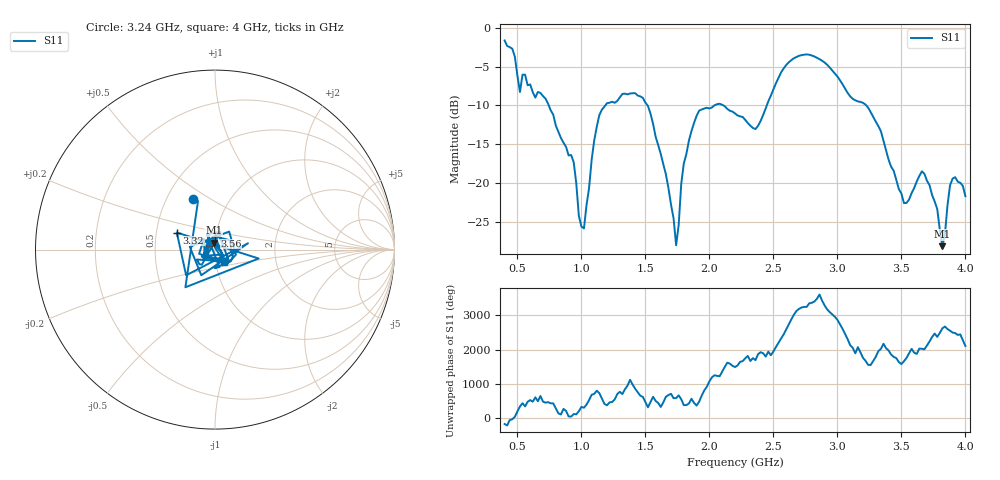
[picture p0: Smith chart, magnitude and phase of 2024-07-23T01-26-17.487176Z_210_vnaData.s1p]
!Created with skrf (http://scikit-rf.org).
# Hz S RI R 50.0
!freq ReS11 ImS11
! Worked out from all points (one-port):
!   181 points, 400 MHz to 4 GHz, reference 50 ohm
!   lowest |S11| = -28.1 dB at 3.82 GHz (marker M1), VSWR 1.08, Z = 49.2 + j3.81 ohm
!   |S11| at or under -10 dB: 744.8 MHz to 1.187 GHz (442.2 MHz wide, 45.8 % of centre); 1.516 GHz to 2.039 GHz (522.4 MHz wide, 29.4 % of centre); 3.225 GHz to end of sweep (the widest 3 of 4)
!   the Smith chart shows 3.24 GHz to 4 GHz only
!   S11 on the Smith chart (normalised r, x): 3.24 GHz: 0.68, +0.42; 3.32 GHz: 0.64, +0.13; 3.56 GHz: 0.98, +0.16; 4 GHz: 1.09, -0.15
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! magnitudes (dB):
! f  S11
! 400 MHz  -1.6
! 480 MHz  -3.7
! 520 MHz  -8.3
! 560 MHz  -6.1
! 860 MHz  -14.8
! 940 MHz  -17.3
! 980 MHz  -24.2
! 1.02 GHz  -25.8
! 1.14 GHz  -11.3
! 1.3 GHz  -9.0
! 1.52 GHz  -10.1
! 1.66 GHz  -18.9
! 1.74 GHz  -28.0
! 1.76 GHz  -25.4
! 1.8 GHz  -17.5
! 1.92 GHz  -10.7
! 2.2 GHz  -11.0
! 2.36 GHz  -13.0
! 2.66 GHz  -3.9
! 2.88 GHz  -4.3
! 3.1 GHz  -8.8
! 3.24 GHz  -10.3
! 3.32 GHz  -12.7
! 3.56 GHz  -22.1
! 3.68 GHz  -18.8
! 3.82 GHz  -28.1
! 3.9 GHz  -19.4
! 4 GHz  -21.7
